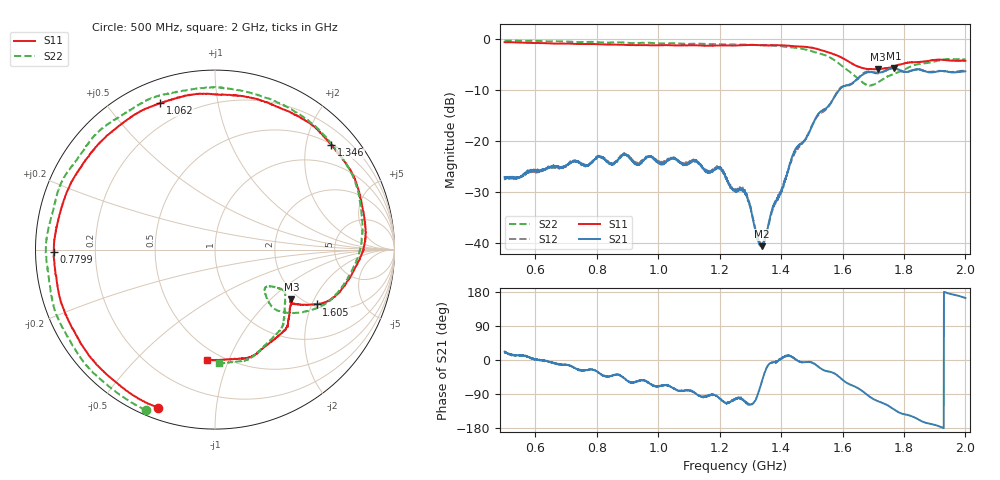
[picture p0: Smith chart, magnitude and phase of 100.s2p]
! Anritsu VNA Master:  Model: MS2036C/2
! SN:  2120025
! /bd0/h100_2.s2p
! Existing Calibration Information:
! TYPE:  Current Settings,  Active Cal Settings
! TIME:  03/24/2026 03:09:06 AM,  03/18/2026 10:00:30 PM
! INTERNAL TEMP:  49.5 C,  42.3 C
! # POINTS:  2000,  2000
! START FREQ:  500.000 MHz,  500.000 MHz
! STOP FREQ:  2.000 GHz,  2.000 GHz
! SOURCE POWER:  High,  High
! IFBW:  10 kHz,  10 kHz
! AVG FACTOR:  1 ,  1
! REF PLANE 1:  0 mm,  0 mm
! REF PLANE 2:  0 mm,  0 mm
! CAL TYPE:  Full 2 Port,  Full 2 Port
! CAL METHOD:  SOLT,  SOLT
! CAL LINE TYPE:  Coax,  Coax
! DUT PORT 1:  N-Conn(M),  N-Conn(M)
! DUT PORT 2:  N-Conn(M),  N-Conn(M)
! CAL STATUS:  ?T: Accuracy moderate (|Temp diff| > 5.0 C),  --
# GHZ S MA R 50.0
! FREQ.GHZ  S11M  S11A  S21M  S21A  S12M  S12A  S22M  S22A
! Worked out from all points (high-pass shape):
!   2000 points, 500 MHz to 2 GHz, reference 50 ohm
!   highest |S21| = -5.68 dB at 1.768 GHz (marker M1); lowest = -40.7 dB at 1.337 GHz (marker M2)
!   |S21| within 3 dB of the highest: 1.63 GHz to end of sweep
!   lowest |S11| = -5.9 dB at 1.714 GHz (marker M3), VSWR 3.06, Z = 91.3 - j68 ohm
!   |S11| at or under -10 dB: nowhere
!   |S22| runs from -9.1 to -0.2 dB; largest |S21 - S12| = 0.017
!   S11 on the Smith chart (normalised r, x): 500 MHz: 0.05, -0.70; 779.9 MHz: 0.05, -0.01; 1.062 GHz: 0.10, +0.69; 1.346 GHz: 0.52, +2.51; 1.605 GHz: 2.08, -2.18; 2 GHz: 0.42, -0.84
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0.5  0.9365 -109.6  0.04419 22.2  0.04301 19.4  0.973 -113.3
0.6335668  0.9146 -141.8  0.05357 -1.9  0.05371 -2.6  0.9576 -145.1
0.7506253  0.9005 -171.4  0.05958 -28.2  0.05949 -28.6  0.9412 -173.5
0.7798899  0.8987 -179.2  0.05997 -25.2  0.06056 -22.8  0.9425 179.9
0.881941  0.8852 154.8  0.0717 -43.3  0.07272 -43.0  0.9324 154.7
1.0005  0.8735 125.6  0.06149 -70.0  0.06248 -68.7  0.9101 125.3
1.062031  0.8725 110.5  0.06574 -80.4  0.06519 -78.7  0.9132 109.7
1.197849  0.8691 77.8  0.05522 -99.6  0.05506 -98.3  0.8941 74.9
1.250375  0.868 64.9  0.03349 -104.8  0.03258 -99.4  0.8884 61.2
1.286393  0.8764 55.9  0.02928 -114.4  0.03024 -112.1  0.8857 51.6
1.336668  0.8744 44.8  0.009255 -59.3  0.009746 -59.1  0.8741 38.0
1.346423  0.8703 42.0  0.01048 -33.4  0.01078 -36.4  0.873 35.3
1.373437  0.8721 34.0  0.02269 -6.4  0.02142 -5.5  0.8691 27.5
1.44022  0.8554 16.8  0.0742 5.8  0.07232 5.2  0.8275 7.4
1.50025  0.8302 -0.1  0.1398 -6.9  0.1421 -7.2  0.7646 -11.1
1.604552  0.644 -28.3  0.3458 -55.1  0.3488 -55.1  0.5272 -41.6
1.675838  0.5129 -34.8  0.4664 -89.1  0.479 -88.3  0.361 -39.6
1.714107  0.5074 -33.0  0.4706 -108.3  0.4624 -107.8  0.3742 -33.2
1.750125  0.5248 -36.6  0.5056 -121.1  0.5108 -120.4  0.4342 -30.8
1.768134  0.5429 -40.0  0.5201 -130.6  0.5187 -130.8  0.4581 -31.7
1.86043  0.6013 -59.4  0.4974 -162.6  0.493 -161.4  0.5788 -51.7
2  0.6146 -94.1  0.4844 163.5  0.4894 163.7  0.6325 -87.9
